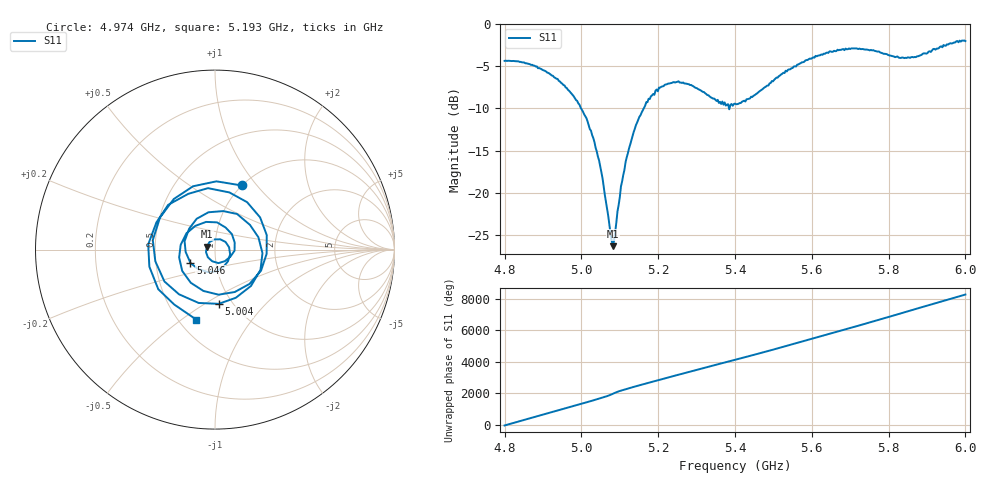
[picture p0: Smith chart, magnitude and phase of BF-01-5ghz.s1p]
! NanoVNA-App
! Date: 2026-05-22 18:05:37
! Start: 4.8GHz Stop: 6GHz Points: 401
! S-Parameter data: F S11
# Hz S RI R 50
!  Frequency  S11_Real  S11_Imag
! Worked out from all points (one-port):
!   401 points, 4.8 GHz to 6 GHz, reference 50 ohm
!   lowest |S11| = -26.3 dB at 5.082 GHz (marker M1), VSWR 1.10, Z = 45.6 + j1.49 ohm
!   |S11| at or under -10 dB: 4.999 GHz to 5.162 GHz (163 MHz wide, 3.21 % of centre); 5.384503 GHz to 5.385579 GHz (1.076 MHz wide, 0.02 % of centre)
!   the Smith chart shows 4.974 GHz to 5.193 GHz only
!   S11 on the Smith chart (normalised r, x): 4.974 GHz: 1.00, +0.84; 5.004 GHz: 0.86, -0.58; 5.046 GHz: 0.75, -0.12; 5.193 GHz: 0.61, -0.57
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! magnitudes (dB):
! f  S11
! 4.8 GHz  -4.4
! 4.878 GHz  -4.9
! 4.95 GHz  -7.1
! 4.974 GHz  -8.2
! 5.004 GHz  -10.4
! 5.028 GHz  -13.2
! 5.046 GHz  -16.2
! 5.055 GHz  -18.3
! 5.076 GHz  -24.9
! 5.082 GHz  -26.3
! 5.088 GHz  -24.7
! 5.1 GHz  -20.5
! 5.109 GHz  -17.9
! 5.118 GHz  -15.8
! 5.139 GHz  -12.4
! 5.169 GHz  -9.3
! 5.193 GHz  -7.9
! 5.22 GHz  -7.2
! 5.25 GHz  -6.8
! 5.286 GHz  -7.2
! 5.382 GHz  -9.5
! 5.4 GHz  -9.4
! 5.445 GHz  -8.6
! 5.55 GHz  -5.2
! 5.643 GHz  -3.4
! 5.7 GHz  -3.0
! 5.85 GHz  -3.9
! 6 GHz  -2.0
